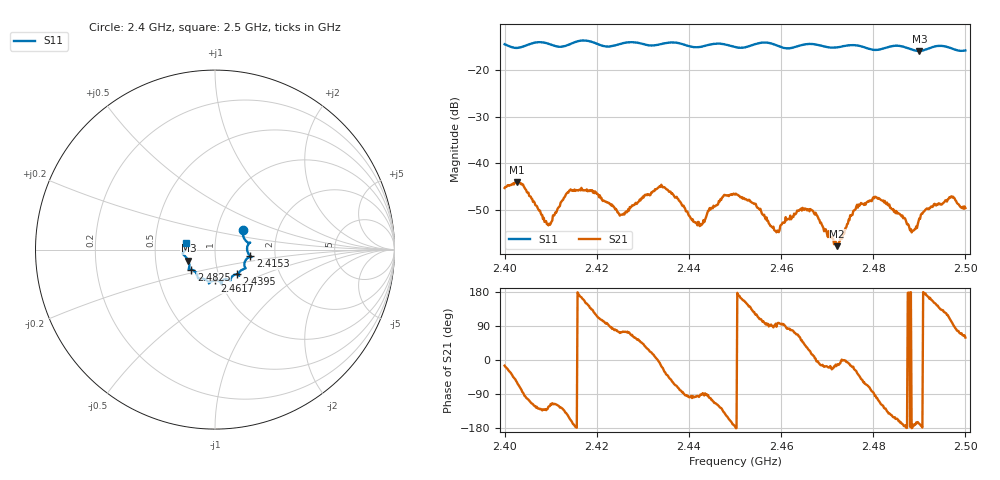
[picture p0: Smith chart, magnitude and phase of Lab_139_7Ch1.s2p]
# Hz S RI R 50
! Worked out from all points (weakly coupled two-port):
!   601 points, 2.4 GHz to 2.5 GHz, reference 50 ohm
!   highest |S21| = -44.00 dB at 2.4027 GHz (marker M1); lowest = -57.7 dB at 2.4722 GHz (marker M2)
!   lowest |S11| = -15.9 dB at 2.49 GHz (marker M3), VSWR 1.38, Z = 36.8 - j4.73 ohm
!   |S11| at or under -10 dB: start of sweep to end of sweep
!   S12 and S22 are empty: the file has one direction only
!   S11 on the Smith chart (normalised r, x): 2.4 GHz: 1.33, +0.30; 2.4153 GHz: 1.49, -0.11; 2.4395 GHz: 1.23, -0.35; 2.4617 GHz: 0.94, -0.33; 2.4825 GHz: 0.75, -0.17; 2.5 GHz: 0.72, +0.05
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2.4e9  0.1561 0.1087  0.00528 -0.0014  0 0  0 0
2.402667e9  0.1608 0.0652  0.00332 -0.00536  0 0  0 0
2.4095e9  0.1893 0.0343  -0.00119 -0.00181  0 0  0 0
2.415333e9  0.1972 -0.0368  -0.00506 -0.000361  0 0  0 0
2.416667e9  0.204 -0.0416  -0.0053 0.00136  0 0  0 0
2.4255e9  0.1671 -0.0989  0.000787 0.00271  0 0  0 0
2.433333e9  0.1328 -0.133  0.00551 -0.000181  0 0  0 0
2.4395e9  0.1228 -0.1379  -0.00014 -0.00306  0 0  0 0
2.442833e9  0.092 -0.154  -3.52e-05 -0.00222  0 0  0 0
2.447333e9  0.0844 -0.1715  -0.00297 -0.00318  0 0  0 0
2.45e9  0.0667 -0.1646  -0.00461 -0.000405  0 0  0 0
2.459e9  0.0317 -0.1824  7.26e-05 0.00182  0 0  0 0
2.461667e9  0.000454 -0.1718  0.000331 0.00251  0 0  0 0
2.466667e9  -0.0338 -0.1884  0.00305 0.000804  0 0  0 0
2.472167e9  -0.0688 -0.1617  0.00127 -0.00027  0 0  0 0
2.476833e9  -0.0951 -0.1566  0.00278 -0.00233  0 0  0 0
2.4825e9  -0.1321 -0.1112  -0.00244 -0.00313  0 0  0 0
2.483333e9  -0.1396 -0.1103  -0.00278 -0.00222  0 0  0 0
2.488333e9  -0.1427 -0.0864  -0.00182 -5.85e-06  0 0  0 0
2.49e9  -0.1486 -0.0626  -0.00252 -0.000511  0 0  0 0
2.496833e9  -0.1725 -0.0114  -0.00105 0.00428  0 0  0 0
2.5e9  -0.1596 0.0348  0.0017 0.00286  0 0  0 0
